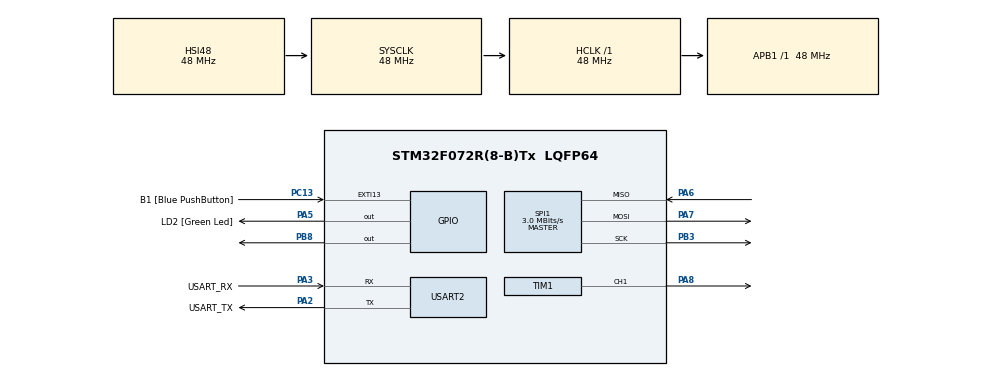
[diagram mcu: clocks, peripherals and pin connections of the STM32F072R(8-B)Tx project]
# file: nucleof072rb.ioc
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Mcu.Family=STM32F0
Mcu.Name=STM32F072R(8-B)Tx
Mcu.Package=LQFP64
PA13.GPIO_Label=TMS
PA13.Mode=Serial_Wire
PA13.Signal=SYS_SWDIO
PA14.GPIO_Label=TCK
PA14.Mode=Serial_Wire
PA14.Signal=SYS_SWCLK
PA2.GPIO_Label=USART_TX
PA2.GPIO_Mode=GPIO_MODE_AF_PP
PA2.GPIO_PuPd=GPIO_NOPULL
PA2.GPIO_Speed=GPIO_SPEED_FREQ_LOW
PA2.Mode=Asynchronous
PA2.Signal=USART2_TX
PA3.GPIO_Label=USART_RX
PA3.GPIO_Mode=GPIO_MODE_AF_PP
PA3.GPIO_PuPd=GPIO_NOPULL
PA3.GPIO_Speed=GPIO_SPEED_FREQ_LOW
PA3.Mode=Asynchronous
PA3.Signal=USART2_RX
PA5.GPIO_Label=LD2 [Green Led]
PA5.GPIO_Mode=GPIO_MODE_OUTPUT_PP
PA5.GPIO_PuPd=GPIO_NOPULL
PA5.GPIO_Speed=GPIO_SPEED_FREQ_LOW
PA5.Signal=GPIO_Output
PA6.Mode=Full_Duplex_Master
PA6.Signal=SPI1_MISO
PA7.Mode=Full_Duplex_Master
PA7.Signal=SPI1_MOSI
PA8.Signal=S_TIM1_CH1
PB3.Mode=Full_Duplex_Master
PB3.Signal=SPI1_SCK
PB8.Signal=GPIO_Output
PC13.GPIO_Label=B1 [Blue PushButton]
PC13.GPIO_ModeDefaultEXTI=GPIO_MODE_IT_FALLING
PC13.Signal=GPXTI13
PC14-OSC32_IN.Mode=LSE-External-Oscillator
PC14-OSC32_IN.Signal=RCC_OSC32_IN
PC15-OSC32_OUT.Mode=LSE-External-Oscillator
PC15-OSC32_OUT.Signal=RCC_OSC32_OUT
PF0-OSC_IN.Mode=HSE-External-Clock-Source
PF0-OSC_IN.Signal=RCC_OSC_IN
PF1-OSC_OUT.Signal=RCC_OSC_OUT
ProjectManager.HeapSize=0x200
ProjectManager.StackSize=0x400
ProjectManager.TargetToolchain=STM32CubeIDE
RCC.AHBFreq_Value=48000000
RCC.APB1Freq_Value=48000000
RCC.APB1TimFreq_Value=48000000
RCC.FLatency-AdvancedSettings=FLASH_LATENCY_1
RCC.HCLKFreq_Value=48000000
RCC.PLLDivider=RCC_PREDIV_DIV2
RCC.PLLMUL=RCC_PLL_MUL12
RCC.PREFETCH_ENABLE-AdvancedSettings=1
RCC.SYSCLKFreq_VALUE=48000000
RCC.SYSCLKSource=RCC_SYSCLKSOURCE_HSI48
SH.S_TIM1_CH1.0=TIM1_CH1,PWM Generation1 CH1
SPI1.BaudRatePrescaler=SPI_BAUDRATEPRESCALER_16
SPI1.CLKPhase=SPI_PHASE_1EDGE
SPI1.CalculateBaudRate=3.0 MBits/s
SPI1.DataSize=SPI_DATASIZE_8BIT
SPI1.Direction=SPI_DIRECTION_2LINES
SPI1.Mode=SPI_MODE_MASTER
SPI1.VirtualType=VM_MASTER
TIM1.Channel-PWM\ Generation1\ CH1=TIM_CHANNEL_1
TIM1.ClockDivision=TIM_CLOCKDIVISION_DIV1
TIM1.Period=64000
TIM1.Prescaler=14
USART2.VirtualMode=VM_ASYNC
USART2.VirtualMode-Asynchronous=VM_ASYNC
VP_TIM1_VS_ClockSourceINT.Mode=Internal
board=NUCLEO-F072RB

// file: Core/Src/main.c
/* USER CODE BEGIN Header */
/**
  ******************************************************************************
  * @file           : main.c
  * @brief          : Main program body
  ******************************************************************************
  * @attention
  *
  * <h2><center>&copy; Copyright (c) 2021 STMicroelectronics.
  * All rights reserved.</center></h2>
  *
  * This software component is licensed by ST under BSD 3-Clause license,
  * the "License"; You may not use this file except in compliance with the
  * License. You may obtain a copy of the License at:
  *                        opensource.org/licenses/BSD-3-Clause
  *
  ******************************************************************************
  */
/* USER CODE END Header */
#include "main.h"
#include "spi.h"
#include "tim.h"
#include "usart.h"
#include "gpio.h"

/* USER CODE BEGIN PV */
const float COUNTER_PERIOD = 64000.0;
const float DUTY_5P = COUNTER_PERIOD  / 20.0; // diving by whole numbers only for now so as to not cause floating point errors
const float DUTY_10P = COUNTER_PERIOD / 10.0;
/* USER CODE END PV */

void SystemClock_Config(void);

int main(void)
{

  /* MCU Configuration--------------------------------------------------------*/

  /* Reset of all peripherals, Initializes the Flash interface and the Systick. */
  HAL_Init();

  /* Configure the system clock */
  SystemClock_Config();

  /* Initialize all configured peripherals */
  MX_GPIO_Init();
  MX_USART2_UART_Init();
  MX_SPI1_Init();
  MX_TIM1_Init();
  /* USER CODE BEGIN 2 */
  HAL_TIM_PWM_Start(&htim1, TIM_CHANNEL_1);
  __HAL_TIM_SET_COMPARE(&htim1, TIM_CHANNEL_1, (int)COUNTER_PERIOD); // set duty cycle to 5% by default
  /* USER CODE END 2 */

  /* Infinite loop */
  while (1)
  {

    /* USER CODE BEGIN 3 */
	  HAL_Delay(10);
	  uint8_t inputFrame[] = {0b11000000, 0, 0}; // since frame size is 8 bits, we want the last input frame to be 0 or a new transmission might accidentally be started :'(
	  uint8_t outputFrame[] = {0, 0, 0};
	  HAL_SPI_TransmitReceive(&hspi1, inputFrame, outputFrame, 3, HAL_MAX_DELAY); // 17 bits / 8 bits a frame yields 3 frames to transmit and receive at once
	  uint16_t output = outputFrame[0] & 1; // value the ADC sent back, B9 lives on the last bit of frame 0 btw
	  output <<= 8;
	  output += outputFrame[1]; // bits 8 to 1 live in frame 1
	  output <<= 8;
	  output += (outputFrame[2] & 0x80) >> 7; // taking B0 from the last output frame and the rest is just garbage input

	  // output should be something from 0 to 1023, map 0 to 5% duty cycle, 1023 to 10% duty cycle
	  float weight10p = output / 1023.0;
	  float weight5p = 1.0 - weight10p;
	  float floatPwmCounter = DUTY_5P * weight5p + DUTY_10P * weight10p;
	  __HAL_TIM_SET_COMPARE(&htim1, TIM_CHANNEL_1, (uint32_t)floatPwmCounter);

  }
  /* USER CODE END 3 */
}

void SystemClock_Config(void)
{
  RCC_OscInitTypeDef RCC_OscInitStruct = {0};
  RCC_ClkInitTypeDef RCC_ClkInitStruct = {0};
  RCC_PeriphCLKInitTypeDef PeriphClkInit = {0};

  /** Initializes the RCC Oscillators according to the specified parameters
  * in the RCC_OscInitTypeDef structure.
  */
  RCC_OscInitStruct.OscillatorType = RCC_OSCILLATORTYPE_HSI48;
  RCC_OscInitStruct.HSI48State = RCC_HSI48_ON;
  RCC_OscInitStruct.PLL.PLLState = RCC_PLL_NONE;
  if (HAL_RCC_OscConfig(&RCC_OscInitStruct) != HAL_OK)
  {
    Error_Handler();
  }

  /** Initializes the CPU, AHB and APB buses clocks
  */
  RCC_ClkInitStruct.ClockType = RCC_CLOCKTYPE_HCLK|RCC_CLOCKTYPE_SYSCLK
                              |RCC_CLOCKTYPE_PCLK1;
  RCC_ClkInitStruct.SYSCLKSource = RCC_SYSCLKSOURCE_HSI48;
  RCC_ClkInitStruct.AHBCLKDivider = RCC_SYSCLK_DIV1;
  RCC_ClkInitStruct.APB1CLKDivider = RCC_HCLK_DIV1;

  if (HAL_RCC_ClockConfig(&RCC_ClkInitStruct, FLASH_LATENCY_1) != HAL_OK)
  {
    Error_Handler();
  }
  PeriphClkInit.PeriphClockSelection = RCC_PERIPHCLK_USART2;
  PeriphClkInit.Usart2ClockSelection = RCC_USART2CLKSOURCE_PCLK1;
  if (HAL_RCCEx_PeriphCLKConfig(&PeriphClkInit) != HAL_OK)
  {
    Error_Handler();
  }
}

void Error_Handler(void)
{
  __disable_irq();
  while (1)
  {
  }
}
